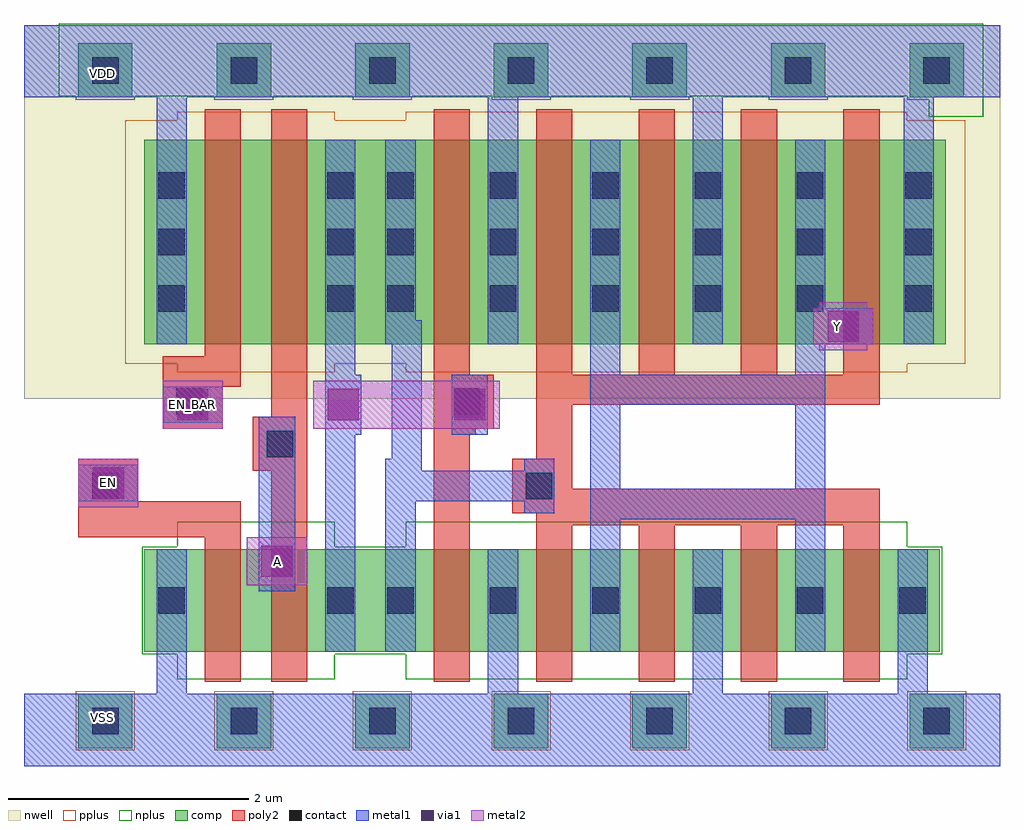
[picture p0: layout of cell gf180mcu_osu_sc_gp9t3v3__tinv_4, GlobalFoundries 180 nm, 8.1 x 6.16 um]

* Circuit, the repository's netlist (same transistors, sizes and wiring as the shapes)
* Copyright 2022 Google LLC
*
* Licensed under the Apache License, Version 2.0 (the "License");
* you may not use this file except in compliance with the License.
* You may obtain a copy of the License at
*
*      http://www.apache.org/licenses/LICENSE-2.0
*
* Unless required by applicable law or agreed to in writing, software
* distributed under the License is distributed on an "AS IS" BASIS,
* WITHOUT WARRANTIES OR CONDITIONS OF ANY KIND, either express or implied.
* See the License for the specific language governing permissions and
* limitations under the License.

.option scale=0.05u

.subckt gf180mcu_osu_sc_gp9t3v3__tinv_4 A Y EN EN_BAR
X0 Y a_47_19 VDD VDD pmos_3p3 w=34 l=6
X1 VDD a_47_19 Y VDD pmos_3p3 w=34 l=6
X2 a_36_19 EN VSS VSS nmos_3p3 w=17 l=6
X3 a_36_70 EN_BAR VDD VDD pmos_3p3 w=34 l=6
X4 a_47_19 A a_36_19 VSS nmos_3p3 w=17 l=6
X5 a_47_19 A a_36_70 VDD pmos_3p3 w=34 l=6
X6 VSS a_47_19 a_47_19 VSS nmos_3p3 w=17 l=6
X7 VSS a_47_19 Y VSS nmos_3p3 w=17 l=6
X8 VDD a_47_19 a_47_19 VDD pmos_3p3 w=34 l=6
X9 VDD a_47_19 Y VDD pmos_3p3 w=34 l=6
X10 Y a_47_19 VSS VSS nmos_3p3 w=17 l=6
X11 Y a_47_19 VSS VSS nmos_3p3 w=17 l=6
X12 Y a_47_19 VDD VDD pmos_3p3 w=34 l=6
X13 VSS a_47_19 Y VSS nmos_3p3 w=17 l=6
.ends

** hspice subcircuit dictionary

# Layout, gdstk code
import gdstk
lib = gdstk.Library(unit=1e-6, precision=1e-09)
def R(c, l, rs):  # rectangles x0, y0, x1, y1
    for r in rs: c.add(gdstk.rectangle(r[:2], r[2:], *l))
def A(c, l, x, y, w, h, nx, ny, dx, dy):  # array of equal rectangles
    R(c, l, [(x+i*dx, y+j*dy, x+i*dx+w, y+j*dy+h) for i in range(nx) for j in range(ny)])
nwell = (21, 0)
comp = (22, 0)
poly2 = (30, 0)
pplus = (31, 0)
nplus = (32, 0)
contact = (33, 0)
metal1 = (34, 0)
via1 = (35, 0)
metal2 = (36, 0)

gf180mcu_osu_sc_gp9t3v3_ = lib.new_cell('gf180mcu_osu_sc_gp9t3v3__tinv_4')
R(gf180mcu_osu_sc_gp9t3v3_, nwell, [(0,3.05,8.1,6.15)])
A(gf180mcu_osu_sc_gp9t3v3_, comp, 0.45, 0.15, 0.45, 0.45, 7, 2, 1.15, 5.4)
R(gf180mcu_osu_sc_gp9t3v3_, comp, [(1,0.95,7.6,1.8), (1,3.5,7.65,5.2)])
A(gf180mcu_osu_sc_gp9t3v3_, poly2, 4.25, 0.7, 0.3, 1.3, 4, 1, 0.85, 0)
A(gf180mcu_osu_sc_gp9t3v3_, poly2, 3.4, 3.25, 0.3, 2.2, 5, 1, 0.85, 0)
R(gf180mcu_osu_sc_gp9t3v3_, poly2, [(1.5,0.7,1.8,1.9), (2.05,0.7,2.35,2.45), (3.4,0.7,3.7,2.75), (0.45,1.9,1.8,2.2), (4.25,2,7.1,2.1), (4.05,2.1,7.1,2.3), (0.45,2.2,0.95,2.55), (4.05,2.3,4.55,2.55), (1.9,2.45,2.35,2.9), (4.25,2.55,4.55,3), (3.4,2.75,3.75,2.8), (1.15,2.8,1.65,3.15), (3.4,2.8,3.9,3.25), (2.05,2.9,2.35,5.45), (4.25,3,7.1,3.25), (1.15,3.15,1.8,3.4), (1.5,3.4,1.8,5.45)])
A(gf180mcu_osu_sc_gp9t3v3_, pplus, 0.43, 0.13, 0.49, 0.49, 7, 1, 1.15, 0)
R(gf180mcu_osu_sc_gp9t3v3_, pplus, [(1.27,3.27,2.58,3.34), (3.17,3.27,7.33,3.34), (0.84,3.34,7.81,5.36), (1.27,5.36,2.58,5.43), (3.17,5.36,7.33,5.43)])
A(gf180mcu_osu_sc_gp9t3v3_, nplus, 0.43, 5.53, 0.49, 0.03, 6, 1, 1.15, 0)
R(gf180mcu_osu_sc_gp9t3v3_, nplus, [(1.27,0.72,2.58,0.93), (3.17,0.72,7.33,0.93), (0.98,0.93,7.62,1.82), (1.27,1.82,2.58,2.03), (3.17,1.82,7.33,2.03), (7.51,5.39,7.96,5.53), (7.33,5.53,7.96,5.56), (0.29,5.56,7.96,6.16)])
A(gf180mcu_osu_sc_gp9t3v3_, contact, 0.565, 0.265, 0.22, 0.22, 7, 2, 1.15, 5.4)
A(gf180mcu_osu_sc_gp9t3v3_, contact, 3.015, 1.265, 0.22, 0.22, 6, 1, 0.85, 0)
A(gf180mcu_osu_sc_gp9t3v3_, contact, 1.115, 3.77, 0.22, 0.22, 1, 3, 0, 0.47)
A(gf180mcu_osu_sc_gp9t3v3_, contact, 2.515, 3.77, 0.22, 0.22, 1, 3, 0, 0.47)
A(gf180mcu_osu_sc_gp9t3v3_, contact, 3.015, 3.77, 0.22, 0.22, 5, 3, 0.85, 0.47)
A(gf180mcu_osu_sc_gp9t3v3_, contact, 7.315, 3.77, 0.22, 0.22, 1, 3, 0, 0.47)
R(gf180mcu_osu_sc_gp9t3v3_, contact, [(1.115,1.265,1.335,1.485), (2.515,1.265,2.735,1.485), (0.565,2.215,0.785,2.435), (4.165,2.215,4.385,2.435), (2.015,2.565,2.235,2.785), (1.265,2.915,1.485,3.135), (3.565,2.915,3.785,3.135)])
A(gf180mcu_osu_sc_gp9t3v3_, metal1, 3.85, 0.6, 0.25, 1.2, 3, 1, 1.7, 0)
R(gf180mcu_osu_sc_gp9t3v3_, metal1, [(0,0,8.1,0.6), (1.1,0.6,1.35,1.8), (2.5,0.95,2.75,2.75), (3,0.95,3.25,2.2), (4.7,0.95,4.95,2.05), (6.4,0.95,6.65,2.05), (1.95,1.45,2.25,2.9), (4.7,2.05,6.65,2.3), (4.15,2.1,4.4,2.2), (0.45,2.2,0.95,2.5), (3,2.2,4.4,2.45), (4.7,2.3,4.95,3), (6.4,2.3,6.65,3), (3,2.45,3.3,2.55), (4.15,2.45,4.4,2.55), (3.05,2.55,3.3,3.5), (2.5,2.75,2.8,3.25), (3.55,2.75,3.85,3.25), (1.15,2.85,1.65,3.15), (4.7,3,6.65,3.25), (2.5,3.25,2.75,5.2), (4.7,3.25,4.95,5.2), (6.4,3.25,6.65,3.5), (1.1,3.5,1.35,5.55), (3,3.5,3.3,3.7), (3.85,3.5,4.1,5.55), (5.55,3.5,5.8,5.55), (6.4,3.5,7.05,3.8), (7.3,3.5,7.55,5.55), (3,3.7,3.25,5.2), (6.4,3.8,6.65,5.2), (0,5.55,8.1,6.15)])
R(gf180mcu_osu_sc_gp9t3v3_, via1, [(1.97,1.57,2.23,1.83), (0.57,2.22,0.83,2.48), (1.27,2.87,1.53,3.13), (2.52,2.87,2.78,3.13), (3.57,2.87,3.83,3.13), (6.67,3.52,6.93,3.78)])
R(gf180mcu_osu_sc_gp9t3v3_, metal2, [(1.85,1.5,2.35,1.9), (0.45,2.15,0.95,2.55), (1.15,2.8,1.65,3.2), (2.4,2.8,3.95,3.2), (6.6,3.45,7,3.5), (6.55,3.5,7.05,3.8), (6.6,3.8,7,3.85)])
gf180mcu_osu_sc_gp9t3v3_.add(gdstk.Label('VDD', (0.65,5.75), layer=34, texttype=0))
gf180mcu_osu_sc_gp9t3v3_.add(gdstk.Label('VSS', (0.65,0.4), layer=34, texttype=0))
gf180mcu_osu_sc_gp9t3v3_.add(gdstk.Label('A', (2.1,1.7), layer=36, texttype=10))
gf180mcu_osu_sc_gp9t3v3_.add(gdstk.Label('Y', (6.75,3.65), layer=36, texttype=10))
gf180mcu_osu_sc_gp9t3v3_.add(gdstk.Label('EN', (0.7,2.35), layer=36, texttype=10))
gf180mcu_osu_sc_gp9t3v3_.add(gdstk.Label('EN_BAR', (1.4,3), layer=36, texttype=10))

lib.write_gds('gf180mcu_osu_sc_gp9t3v3__tinv_4.gds')
